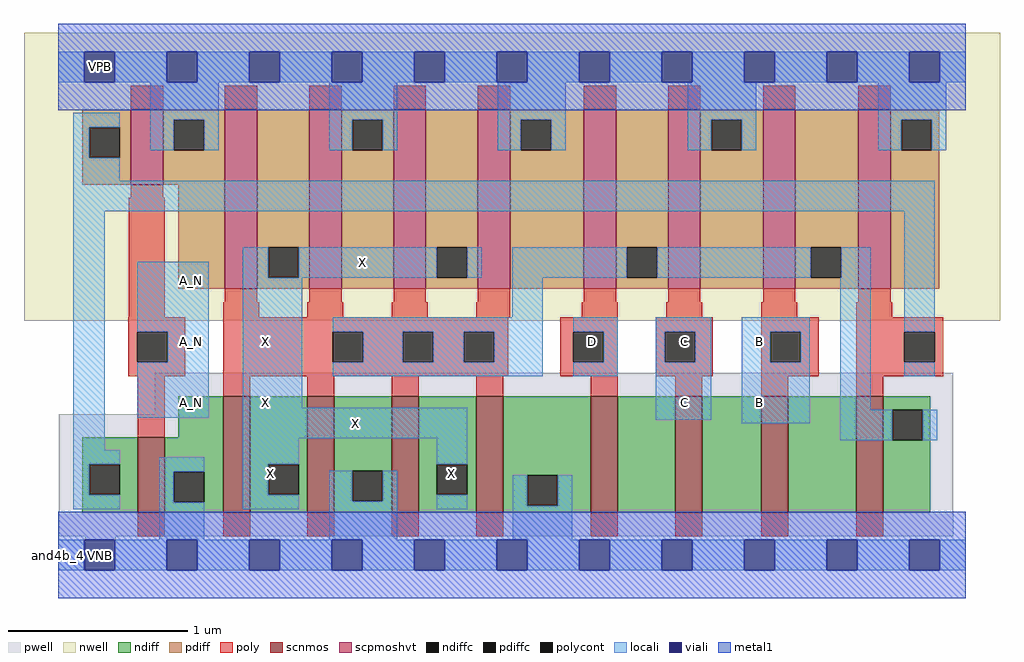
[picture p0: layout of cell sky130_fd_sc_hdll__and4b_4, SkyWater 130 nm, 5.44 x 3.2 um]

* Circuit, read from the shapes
.subckt sky130_fd_sc_hdll__and4b_4 A_N B C D VGND VNB VPB VPWR X
XM1 VGND A_N n1 VNB sky130_fd_pr__nfet_01v8 w=0.42 l=0.15
XM2 X n2 VGND VNB sky130_fd_pr__nfet_01v8 w=0.65 l=0.15 m=4
XM3 n3 D VGND VNB sky130_fd_pr__nfet_01v8 w=0.65 l=0.15
XM4 n4 C n3 VNB sky130_fd_pr__nfet_01v8 w=0.65 l=0.15
XM5 n5 B n4 VNB sky130_fd_pr__nfet_01v8 w=0.65 l=0.15
XM6 n2 n1 n5 VNB sky130_fd_pr__nfet_01v8 w=0.65 l=0.15
XM7 VPWR A_N n1 VPB sky130_fd_pr__pfet_01v8_hvt w=0.42 l=0.18
XM8 X n2 VPWR VPB sky130_fd_pr__pfet_01v8_hvt w=1 l=0.18 m=4
XM9 n2 D VPWR VPB sky130_fd_pr__pfet_01v8_hvt w=1 l=0.18
XM10 VPWR C n2 VPB sky130_fd_pr__pfet_01v8_hvt w=1 l=0.18
XM11 n2 B VPWR VPB sky130_fd_pr__pfet_01v8_hvt w=1 l=0.18
XM12 VPWR n1 n2 VPB sky130_fd_pr__pfet_01v8_hvt w=1 l=0.18
.ends

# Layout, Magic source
magic
tech sky130A
magscale 1 2
<< nwell >>
rect -38 261 1050 582
<< pwell >>
rect 108 157 998 203
rect 1 21 998 157
rect 30 -17 64 21
<< scnmos >>
rect 89 47 119 131
rect 184 47 214 177
rect 278 47 308 177
rect 372 47 402 177
rect 466 47 496 177
rect 594 47 624 177
rect 688 47 718 177
rect 784 47 814 177
rect 890 47 920 177
<< scpmoshvt >>
rect 81 413 117 497
rect 186 297 222 497
rect 280 297 316 497
rect 374 297 410 497
rect 468 297 504 497
rect 586 297 622 497
rect 680 297 716 497
rect 786 297 822 497
rect 892 297 928 497
<< ndiff >>
rect 134 131 184 177
rect 27 101 89 131
rect 27 67 35 101
rect 69 67 89 101
rect 27 47 89 67
rect 119 93 184 131
rect 119 59 129 93
rect 163 59 184 93
rect 119 47 184 59
rect 214 101 278 177
rect 214 67 234 101
rect 268 67 278 101
rect 214 47 278 67
rect 308 94 372 177
rect 308 60 328 94
rect 362 60 372 94
rect 308 47 372 60
rect 402 101 466 177
rect 402 67 422 101
rect 456 67 466 101
rect 402 47 466 67
rect 496 89 594 177
rect 496 55 523 89
rect 557 55 594 89
rect 496 47 594 55
rect 624 47 688 177
rect 718 47 784 177
rect 814 47 890 177
rect 920 162 972 177
rect 920 128 930 162
rect 964 128 972 162
rect 920 47 972 128
<< pdiff >>
rect 27 477 81 497
rect 27 443 35 477
rect 69 443 81 477
rect 27 413 81 443
rect 117 485 186 497
rect 117 451 129 485
rect 163 451 186 485
rect 117 413 186 451
rect 134 297 186 413
rect 222 343 280 497
rect 222 309 234 343
rect 268 309 280 343
rect 222 297 280 309
rect 316 485 374 497
rect 316 451 328 485
rect 362 451 374 485
rect 316 297 374 451
rect 410 343 468 497
rect 410 309 422 343
rect 456 309 468 343
rect 410 297 468 309
rect 504 485 586 497
rect 504 451 516 485
rect 550 451 586 485
rect 504 297 586 451
rect 622 343 680 497
rect 622 309 634 343
rect 668 309 680 343
rect 622 297 680 309
rect 716 485 786 497
rect 716 451 728 485
rect 762 451 786 485
rect 716 297 786 451
rect 822 343 892 497
rect 822 309 839 343
rect 873 309 892 343
rect 822 297 892 309
rect 928 485 982 497
rect 928 451 940 485
rect 974 451 982 485
rect 928 297 982 451
<< ndiffc >>
rect 35 67 69 101
rect 129 59 163 93
rect 234 67 268 101
rect 328 60 362 94
rect 422 67 456 101
rect 523 55 557 89
rect 930 128 964 162
<< pdiffc >>
rect 35 443 69 477
rect 129 451 163 485
rect 234 309 268 343
rect 328 451 362 485
rect 422 309 456 343
rect 516 451 550 485
rect 634 309 668 343
rect 728 451 762 485
rect 839 309 873 343
rect 940 451 974 485
<< poly >>
rect 81 497 117 523
rect 186 497 222 523
rect 280 497 316 523
rect 374 497 410 523
rect 468 497 504 523
rect 586 497 622 523
rect 680 497 716 523
rect 786 497 822 523
rect 892 497 928 523
rect 81 398 117 413
rect 79 265 119 398
rect 186 282 222 297
rect 280 282 316 297
rect 374 282 410 297
rect 468 282 504 297
rect 586 282 622 297
rect 680 282 716 297
rect 786 282 822 297
rect 892 282 928 297
rect 184 265 224 282
rect 278 265 318 282
rect 372 265 412 282
rect 466 265 504 282
rect 584 265 624 282
rect 678 265 718 282
rect 784 265 824 282
rect 890 265 930 282
rect 78 249 142 265
rect 78 215 88 249
rect 122 215 142 249
rect 78 199 142 215
rect 184 249 502 265
rect 184 215 306 249
rect 340 215 384 249
rect 418 215 452 249
rect 486 215 502 249
rect 184 199 502 215
rect 560 249 624 265
rect 560 215 574 249
rect 608 215 624 249
rect 560 199 624 215
rect 666 249 730 265
rect 666 215 676 249
rect 710 215 730 249
rect 666 199 730 215
rect 784 249 848 265
rect 784 215 794 249
rect 828 215 848 249
rect 784 199 848 215
rect 890 249 987 265
rect 890 215 943 249
rect 977 215 987 249
rect 890 199 987 215
rect 89 131 119 199
rect 184 177 214 199
rect 278 177 308 199
rect 372 177 402 199
rect 466 177 496 199
rect 594 177 624 199
rect 688 177 718 199
rect 784 177 814 199
rect 890 177 920 199
rect 89 21 119 47
rect 184 21 214 47
rect 278 21 308 47
rect 372 21 402 47
rect 466 21 496 47
rect 594 21 624 47
rect 688 21 718 47
rect 784 21 814 47
rect 890 21 920 47
<< polycont >>
rect 88 215 122 249
rect 306 215 340 249
rect 384 215 418 249
rect 452 215 486 249
rect 574 215 608 249
rect 676 215 710 249
rect 794 215 828 249
rect 943 215 977 249
<< locali >>
rect 0 527 29 561
rect 63 527 121 561
rect 155 527 213 561
rect 247 527 305 561
rect 339 527 397 561
rect 431 527 489 561
rect 523 527 581 561
rect 615 527 673 561
rect 707 527 765 561
rect 799 527 857 561
rect 891 527 949 561
rect 983 527 1012 561
rect 17 477 69 493
rect 17 443 35 477
rect 103 485 179 527
rect 103 451 129 485
rect 163 451 179 485
rect 302 485 378 527
rect 302 451 328 485
rect 362 451 378 485
rect 490 485 566 527
rect 490 451 516 485
rect 550 451 566 485
rect 702 485 778 527
rect 702 451 728 485
rect 762 451 778 485
rect 914 485 990 527
rect 914 451 940 485
rect 974 451 990 485
rect 17 417 69 443
rect 17 383 977 417
rect 17 117 52 383
rect 88 249 168 327
rect 122 215 168 249
rect 88 153 168 215
rect 206 309 234 343
rect 268 309 422 343
rect 456 309 472 343
rect 506 309 634 343
rect 668 309 839 343
rect 873 309 906 343
rect 206 164 272 309
rect 506 265 540 309
rect 306 249 540 265
rect 340 215 384 249
rect 418 215 452 249
rect 486 215 540 249
rect 306 199 540 215
rect 574 249 624 265
rect 608 215 624 249
rect 574 199 624 215
rect 666 249 728 265
rect 666 215 676 249
rect 710 215 728 249
rect 206 130 456 164
rect 666 151 728 215
rect 762 249 838 265
rect 762 215 794 249
rect 828 215 838 249
rect 762 147 838 215
rect 872 162 906 309
rect 943 249 977 383
rect 943 199 977 215
rect 17 101 69 117
rect 17 67 35 101
rect 17 51 69 67
rect 113 93 163 109
rect 113 59 129 93
rect 113 17 163 59
rect 206 101 268 130
rect 206 67 234 101
rect 422 101 456 130
rect 872 128 930 162
rect 964 128 980 162
rect 206 51 268 67
rect 302 60 328 94
rect 362 60 378 94
rect 302 17 378 60
rect 422 51 456 67
rect 507 55 523 89
rect 557 55 573 89
rect 507 17 573 55
rect 0 -17 29 17
rect 63 -17 121 17
rect 155 -17 213 17
rect 247 -17 305 17
rect 339 -17 397 17
rect 431 -17 489 17
rect 523 -17 581 17
rect 615 -17 673 17
rect 707 -17 765 17
rect 799 -17 857 17
rect 891 -17 949 17
rect 983 -17 1012 17
<< viali >>
rect 29 527 63 561
rect 121 527 155 561
rect 213 527 247 561
rect 305 527 339 561
rect 397 527 431 561
rect 489 527 523 561
rect 581 527 615 561
rect 673 527 707 561
rect 765 527 799 561
rect 857 527 891 561
rect 949 527 983 561
rect 29 -17 63 17
rect 121 -17 155 17
rect 213 -17 247 17
rect 305 -17 339 17
rect 397 -17 431 17
rect 489 -17 523 17
rect 581 -17 615 17
rect 673 -17 707 17
rect 765 -17 799 17
rect 857 -17 891 17
rect 949 -17 983 17
<< metal1 >>
rect 0 561 1012 592
rect 0 527 29 561
rect 63 527 121 561
rect 155 527 213 561
rect 247 527 305 561
rect 339 527 397 561
rect 431 527 489 561
rect 523 527 581 561
rect 615 527 673 561
rect 707 527 765 561
rect 799 527 857 561
rect 891 527 949 561
rect 983 527 1012 561
rect 0 496 1012 527
rect 0 17 1012 48
rect 0 -17 29 17
rect 63 -17 121 17
rect 155 -17 213 17
rect 247 -17 305 17
rect 339 -17 397 17
rect 431 -17 489 17
rect 523 -17 581 17
rect 615 -17 673 17
rect 707 -17 765 17
rect 799 -17 857 17
rect 891 -17 949 17
rect 983 -17 1012 17
rect 0 -48 1012 -17
<< labels >>
flabel locali s 422 51 456 130 0 FreeSans 200 0 0 0 X
port 9 nsew signal output
flabel locali s 579 221 613 255 0 FreeSans 200 0 0 0 D
port 4 nsew signal input
flabel locali s 681 153 715 187 0 FreeSans 200 0 0 0 C
port 3 nsew signal input
flabel locali s 681 221 715 255 0 FreeSans 200 0 0 0 C
port 3 nsew signal input
flabel locali s 765 221 799 255 0 FreeSans 200 0 0 0 B
port 2 nsew signal input
flabel locali s 132 153 166 187 0 FreeSans 200 0 0 0 A_N
port 1 nsew signal input
flabel locali s 132 289 166 323 0 FreeSans 200 0 0 0 A_N
port 1 nsew signal input
flabel locali s 231 170 231 170 0 FreeSans 200 0 0 0 X
port 9 nsew
flabel locali s 132 221 166 255 0 FreeSans 200 0 0 0 A_N
port 1 nsew signal input
flabel locali s 231 238 231 238 0 FreeSans 200 0 0 0 X
port 9 nsew
flabel locali s 765 153 799 187 0 FreeSans 200 0 0 0 B
port 2 nsew signal input
flabel pwell s 30 -17 64 17 0 FreeSans 200 0 0 0 VNB
port 6 nsew ground bidirectional
flabel nwell s 30 527 64 561 0 FreeSans 200 0 0 0 VPB
port 7 nsew power bidirectional
flabel metal1 s 30 -17 64 17 0 FreeSans 200 0 0 0 VGND
port 5 nsew ground bidirectional
flabel metal1 s 30 527 64 561 0 FreeSans 200 0 0 0 VPWR
port 8 nsew power bidirectional
rlabel comment s 0 0 0 0 4 and4b_4
rlabel locali s 206 309 472 343 1 X
port 9 nsew signal output
rlabel locali s 206 164 272 309 1 X
port 9 nsew signal output
rlabel locali s 206 130 456 164 1 X
port 9 nsew signal output
rlabel locali s 206 51 268 130 1 X
port 9 nsew signal output
<< properties >>
string LEFsite unithd
string LEFclass CORE
string FIXED_BBOX 0 0 1012 544
string GDS_FILE $PDKPATH/libs.ref/sky130_fd_sc_hdll/gds/sky130_fd_sc_hdll.gds
string LEFsymmetry X Y R90
string GDS_END 1871844
string GDS_START 1863990
string LEFproperties maskLayoutSubType "abstract" prCellType "standard" originalViewName "layout"
<< end >>
